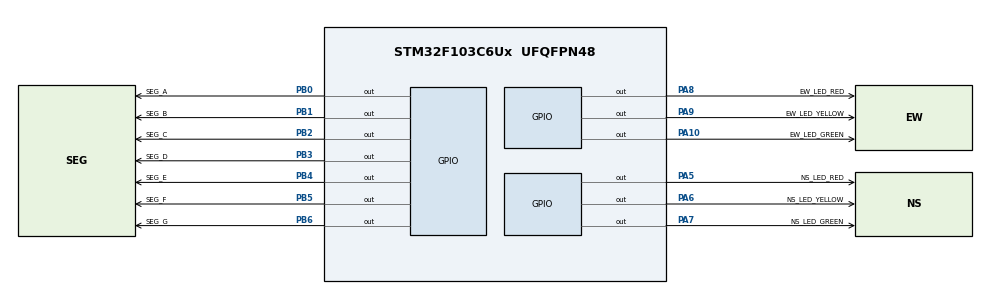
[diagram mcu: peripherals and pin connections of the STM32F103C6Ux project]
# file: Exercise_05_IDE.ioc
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Mcu.Family=STM32F1
Mcu.Name=STM32F103C6Ux
Mcu.Package=UFQFPN48
NVIC.PriorityGroup=NVIC_PRIORITYGROUP_4
PA10.GPIO_Label=EW_LED_GREEN
PA10.Signal=GPIO_Output
PA13.Mode=Serial_Wire
PA13.Signal=SYS_JTMS-SWDIO
PA14.Mode=Serial_Wire
PA14.Signal=SYS_JTCK-SWCLK
PA5.GPIO_Label=NS_LED_RED
PA5.Signal=GPIO_Output
PA6.GPIO_Label=NS_LED_YELLOW
PA6.PinState=GPIO_PIN_SET
PA6.Signal=GPIO_Output
PA7.GPIO_Label=NS_LED_GREEN
PA7.PinState=GPIO_PIN_SET
PA7.Signal=GPIO_Output
PA8.GPIO_Label=EW_LED_RED
PA8.PinState=GPIO_PIN_SET
PA8.Signal=GPIO_Output
PA9.GPIO_Label=EW_LED_YELLOW
PA9.PinState=GPIO_PIN_SET
PA9.Signal=GPIO_Output
PB0.GPIO_Label=SEG_A
PB0.PinState=GPIO_PIN_SET
PB0.Signal=GPIO_Output
PB1.GPIO_Label=SEG_B
PB1.PinState=GPIO_PIN_SET
PB1.Signal=GPIO_Output
PB2.GPIO_Label=SEG_C
PB2.PinState=GPIO_PIN_SET
PB2.Signal=GPIO_Output
PB3.GPIO_Label=SEG_D
PB3.PinState=GPIO_PIN_SET
PB3.Signal=GPIO_Output
PB4.GPIO_Label=SEG_E
PB4.PinState=GPIO_PIN_SET
PB4.Signal=GPIO_Output
PB5.GPIO_Label=SEG_F
PB5.PinState=GPIO_PIN_SET
PB5.Signal=GPIO_Output
PB6.GPIO_Label=SEG_G
PB6.PinState=GPIO_PIN_SET
PB6.Signal=GPIO_Output
ProjectManager.HeapSize=0x200
ProjectManager.StackSize=0x400
ProjectManager.TargetToolchain=STM32CubeIDE
RCC.APB1Freq_Value=8000000
RCC.APB2Freq_Value=8000000
board=custom

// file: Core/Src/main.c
/* USER CODE BEGIN Header */
/**
  ******************************************************************************
  * @file           : main.c
  * @brief          : Main program body
  ******************************************************************************
  * @attention
  *
  * Copyright (c) 2026 STMicroelectronics.
  * All rights reserved.
  *
  * This software is licensed under terms that can be found in the LICENSE file
  * in the root directory of this software component.
  * If no LICENSE file comes with this software, it is provided AS-IS.
  *
  ******************************************************************************
  */
/* USER CODE END Header */
#include "main.h"

void SystemClock_Config(void);
static void MX_GPIO_Init(void);
/* USER CODE BEGIN PFP */
void display7SEG(int num);
void setTraffic(GPIO_PinState nsR,
                GPIO_PinState nsY,
                GPIO_PinState nsG,
                GPIO_PinState ewR,
                GPIO_PinState ewY,
                GPIO_PinState ewG);
void countdown(int start, int end);

/* USER CODE END PFP */

/* USER CODE BEGIN 0 */
void display7SEG(int num)
{
    static const uint16_t digitPattern[10] =
    {
        SEG_A_Pin | SEG_B_Pin | SEG_C_Pin | SEG_D_Pin |
        SEG_E_Pin | SEG_F_Pin,                         // 0

        SEG_B_Pin | SEG_C_Pin,                         // 1

        SEG_A_Pin | SEG_B_Pin | SEG_D_Pin |
        SEG_E_Pin | SEG_G_Pin,                         // 2

        SEG_A_Pin | SEG_B_Pin | SEG_C_Pin |
        SEG_D_Pin | SEG_G_Pin,                         // 3

        SEG_B_Pin | SEG_C_Pin |
        SEG_F_Pin | SEG_G_Pin,                         // 4

        SEG_A_Pin | SEG_C_Pin | SEG_D_Pin |
        SEG_F_Pin | SEG_G_Pin,                         // 5

        SEG_A_Pin | SEG_C_Pin | SEG_D_Pin |
        SEG_E_Pin | SEG_F_Pin | SEG_G_Pin,             // 6

        SEG_A_Pin | SEG_B_Pin | SEG_C_Pin,             // 7

        SEG_A_Pin | SEG_B_Pin | SEG_C_Pin |
        SEG_D_Pin | SEG_E_Pin | SEG_F_Pin |
        SEG_G_Pin,                                     // 8

        SEG_A_Pin | SEG_B_Pin | SEG_C_Pin |
        SEG_D_Pin | SEG_F_Pin | SEG_G_Pin              // 9
    };

    uint16_t allSegments =
        SEG_A_Pin | SEG_B_Pin | SEG_C_Pin |
        SEG_D_Pin | SEG_E_Pin | SEG_F_Pin |
        SEG_G_Pin;

    if (num < 0 || num > 9)
    {
        HAL_GPIO_WritePin(GPIOB,
                          allSegments,
                          GPIO_PIN_SET);
        return;
    }

    HAL_GPIO_WritePin(GPIOB,
                      allSegments,
                      GPIO_PIN_SET);

    HAL_GPIO_WritePin(GPIOB,
                      digitPattern[num],
                      GPIO_PIN_RESET);
}

void setTraffic(GPIO_PinState nsR,
                GPIO_PinState nsY,
                GPIO_PinState nsG,
                GPIO_PinState ewR,
                GPIO_PinState ewY,
                GPIO_PinState ewG)
{
    HAL_GPIO_WritePin(GPIOA, NS_LED_RED_Pin,    nsR);
    HAL_GPIO_WritePin(GPIOA, NS_LED_YELLOW_Pin, nsY);
    HAL_GPIO_WritePin(GPIOA, NS_LED_GREEN_Pin,  nsG);

    HAL_GPIO_WritePin(GPIOA, EW_LED_RED_Pin,    ewR);
    HAL_GPIO_WritePin(GPIOA, EW_LED_YELLOW_Pin, ewY);
    HAL_GPIO_WritePin(GPIOA, EW_LED_GREEN_Pin,  ewG);
}

void countdown(int start, int end)
{
    for (int counter = start; counter >= end; counter--)
    {
        display7SEG(counter);
        HAL_Delay(1000);
    }
}

/* USER CODE END 0 */

int main(void)
{

  /* MCU Configuration--------------------------------------------------------*/

  /* Reset of all peripherals, Initializes the Flash interface and the Systick. */
  HAL_Init();

  /* Configure the system clock */
  SystemClock_Config();

  /* Initialize all configured peripherals */
  MX_GPIO_Init();

  /* Infinite loop */
  /* USER CODE BEGIN WHILE */
  while (1)
  {
	    setTraffic(
	        GPIO_PIN_RESET,    // NS RED ON
	        GPIO_PIN_SET,      // NS YELLOW OFF
	        GPIO_PIN_SET,      // NS GREEN OFF

	        GPIO_PIN_SET,      // EW RED OFF
	        GPIO_PIN_SET,      // EW YELLOW OFF
	        GPIO_PIN_RESET     // EW GREEN ON
	    );
	    countdown(3, 1);

	    setTraffic(
	        GPIO_PIN_RESET,    // NS RED ON
	        GPIO_PIN_SET,      // NS YELLOW OFF
	        GPIO_PIN_SET,      // NS GREEN OFF

	        GPIO_PIN_SET,      // EW RED OFF
	        GPIO_PIN_RESET,    // EW YELLOW ON
	        GPIO_PIN_SET       // EW GREEN OFF
	    );
	    countdown(2, 1);

	    setTraffic(
	        GPIO_PIN_SET,      // NS RED OFF
	        GPIO_PIN_SET,      // NS YELLOW OFF
	        GPIO_PIN_RESET,    // NS GREEN ON

	        GPIO_PIN_RESET,    // EW RED ON
	        GPIO_PIN_SET,      // EW YELLOW OFF
	        GPIO_PIN_SET       // EW GREEN OFF
	    );
	    countdown(3, 1);

	    setTraffic(
	        GPIO_PIN_SET,      // NS RED OFF
	        GPIO_PIN_RESET,    // NS YELLOW ON
	        GPIO_PIN_SET,      // NS GREEN OFF

	        GPIO_PIN_RESET,    // EW RED ON
	        GPIO_PIN_SET,      // EW YELLOW OFF
	        GPIO_PIN_SET       // EW GREEN OFF
	    );
	    countdown(2, 1);

    /* USER CODE END WHILE */

  }
}

void SystemClock_Config(void)
{
  RCC_OscInitTypeDef RCC_OscInitStruct = {0};
  RCC_ClkInitTypeDef RCC_ClkInitStruct = {0};

  /** Initializes the RCC Oscillators according to the specified parameters
  * in the RCC_OscInitTypeDef structure.
  */
  RCC_OscInitStruct.OscillatorType = RCC_OSCILLATORTYPE_HSI;
  RCC_OscInitStruct.HSIState = RCC_HSI_ON;
  RCC_OscInitStruct.HSICalibrationValue = RCC_HSICALIBRATION_DEFAULT;
  RCC_OscInitStruct.PLL.PLLState = RCC_PLL_NONE;
  if (HAL_RCC_OscConfig(&RCC_OscInitStruct) != HAL_OK)
  {
    Error_Handler();
  }

  /** Initializes the CPU, AHB and APB buses clocks
  */
  RCC_ClkInitStruct.ClockType = RCC_CLOCKTYPE_HCLK|RCC_CLOCKTYPE_SYSCLK
                              |RCC_CLOCKTYPE_PCLK1|RCC_CLOCKTYPE_PCLK2;
  RCC_ClkInitStruct.SYSCLKSource = RCC_SYSCLKSOURCE_HSI;
  RCC_ClkInitStruct.AHBCLKDivider = RCC_SYSCLK_DIV1;
  RCC_ClkInitStruct.APB1CLKDivider = RCC_HCLK_DIV1;
  RCC_ClkInitStruct.APB2CLKDivider = RCC_HCLK_DIV1;

  if (HAL_RCC_ClockConfig(&RCC_ClkInitStruct, FLASH_LATENCY_0) != HAL_OK)
  {
    Error_Handler();
  }
}

static void MX_GPIO_Init(void)
{
  GPIO_InitTypeDef GPIO_InitStruct = {0};

  /* GPIO Ports Clock Enable */
  __HAL_RCC_GPIOA_CLK_ENABLE();
  __HAL_RCC_GPIOB_CLK_ENABLE();

  /*Configure GPIO pin Output Level */
  HAL_GPIO_WritePin(GPIOA, NS_LED_RED_Pin|EW_LED_GREEN_Pin, GPIO_PIN_RESET);

  /*Configure GPIO pin Output Level */
  HAL_GPIO_WritePin(GPIOA, NS_LED_YELLOW_Pin|NS_LED_GREEN_Pin|EW_LED_RED_Pin|EW_LED_YELLOW_Pin, GPIO_PIN_SET);

  /*Configure GPIO pin Output Level */
  HAL_GPIO_WritePin(GPIOB, SEG_A_Pin|SEG_B_Pin|SEG_C_Pin|SEG_D_Pin
                          |SEG_E_Pin|SEG_F_Pin|SEG_G_Pin, GPIO_PIN_SET);

  /*Configure GPIO pins : NS_LED_RED_Pin NS_LED_YELLOW_Pin NS_LED_GREEN_Pin EW_LED_RED_Pin
                           EW_LED_YELLOW_Pin EW_LED_GREEN_Pin */
  GPIO_InitStruct.Pin = NS_LED_RED_Pin|NS_LED_YELLOW_Pin|NS_LED_GREEN_Pin|EW_LED_RED_Pin
                          |EW_LED_YELLOW_Pin|EW_LED_GREEN_Pin;
  GPIO_InitStruct.Mode = GPIO_MODE_OUTPUT_PP;
  GPIO_InitStruct.Pull = GPIO_NOPULL;
  GPIO_InitStruct.Speed = GPIO_SPEED_FREQ_LOW;
  HAL_GPIO_Init(GPIOA, &GPIO_InitStruct);

  /*Configure GPIO pins : SEG_A_Pin SEG_B_Pin SEG_C_Pin SEG_D_Pin
                           SEG_E_Pin SEG_F_Pin SEG_G_Pin */
  GPIO_InitStruct.Pin = SEG_A_Pin|SEG_B_Pin|SEG_C_Pin|SEG_D_Pin
                          |SEG_E_Pin|SEG_F_Pin|SEG_G_Pin;
  GPIO_InitStruct.Mode = GPIO_MODE_OUTPUT_PP;
  GPIO_InitStruct.Pull = GPIO_NOPULL;
  GPIO_InitStruct.Speed = GPIO_SPEED_FREQ_LOW;
  HAL_GPIO_Init(GPIOB, &GPIO_InitStruct);

}

void Error_Handler(void)
{
  __disable_irq();
  while (1)
  {
  }
}
